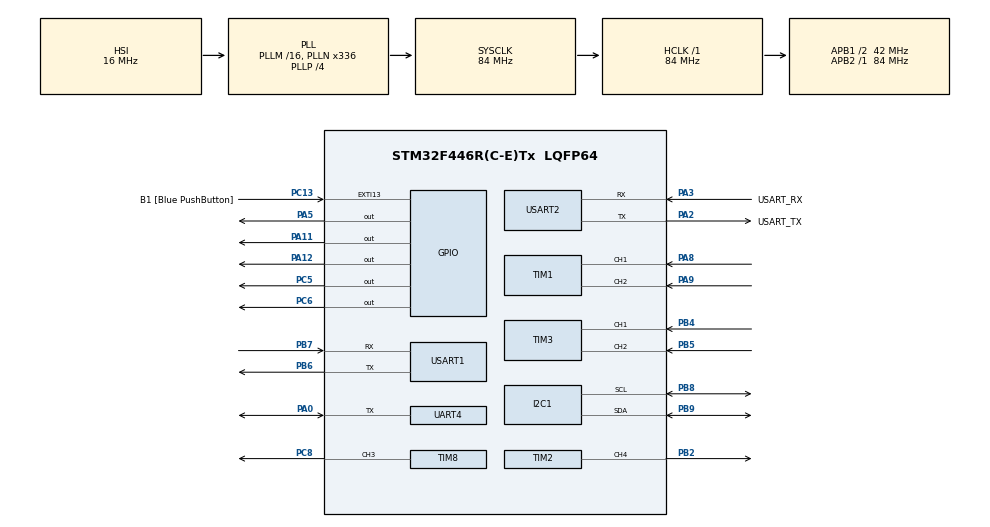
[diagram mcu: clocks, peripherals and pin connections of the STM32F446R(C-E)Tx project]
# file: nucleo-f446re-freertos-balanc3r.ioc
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FREERTOS.Events01=motorDebugFlag,Dynamic,NULL;IMUDebugFlag,Dynamic,NULL;controlDebugFlag,Dynamic,NULL
FREERTOS.Mutexes01=i2cMutex,Dynamic,NULL,Available
FREERTOS.Queues01=gyroQueue,8,vec3,0,Dynamic,NULL,NULL;accelQueue,8,vec3,0,Dynamic,NULL,NULL;encoderQueue,8,vec2,0,Dynamic,NULL,NULL;motorSpeedQueue,8,int,0,Dynamic,NULL,NULL
FREERTOS.Tasks01=IMUDebugTask,8,190,StartIMUDebugTask,As weak,NULL,Dynamic,NULL,NULL;MotorDebugTask,8,150,StartMotorDebugTask,As weak,NULL,Dynamic,NULL,NULL;IMUTask,24,200,StartIMUTask,As weak,NULL,Dynamic,NULL,NULL;ControlTask,32,250,StartControlTask,As weak,NULL,Dynamic,NULL,NULL;EncoderTask,24,200,StartEncoderTask,As weak,NULL,Dynamic,NULL,NULL;MotorTask,24,200,StartMotorTask,As weak,NULL,Dynamic,NULL,NULL;ControlDebugTas,8,200,ControlDebugTaskStart,As weak,NULL,Dynamic,NULL,NULL
FREERTOS.configRECORD_STACK_HIGH_ADDRESS=1
FREERTOS.configUSE_NEWLIB_REENTRANT=1
I2C1.I2C_Mode=I2C_Standard
Mcu.Family=STM32F4
Mcu.Name=STM32F446R(C-E)Tx
Mcu.Package=LQFP64
NVIC.PriorityGroup=NVIC_PRIORITYGROUP_4
NVIC.TIM6_DAC_IRQn=true\:15\:0\:false\:false\:true\:false\:false\:true\:true
NVIC.TimeBase=TIM6_DAC_IRQn
NVIC.TimeBaseIP=TIM6
PA0-WKUP.Mode=Half_duplex(single_wire_mode)
PA0-WKUP.Signal=UART4_TX
PA11.Signal=GPIO_Output
PA12.Signal=GPIO_Output
PA13.GPIO_Label=TMS
PA13.Mode=Serial_Wire
PA13.Signal=SYS_JTMS-SWDIO
PA14.GPIO_Label=TCK
PA14.Mode=Serial_Wire
PA14.Signal=SYS_JTCK-SWCLK
PA2.GPIO_Label=USART_TX
PA2.Mode=Asynchronous
PA2.Signal=USART2_TX
PA3.GPIO_Label=USART_RX
PA3.Mode=Asynchronous
PA3.Signal=USART2_RX
PA5.Signal=GPIO_Output
PA8.Signal=S_TIM1_CH1
PA9.Signal=S_TIM1_CH2
PB2.Signal=S_TIM2_CH4
PB3.GPIO_Label=SWO
PB3.Signal=SYS_JTDO-SWO
PB4.Signal=S_TIM3_CH1
PB5.Signal=S_TIM3_CH2
PB6.Mode=Asynchronous
PB6.Signal=USART1_TX
PB7.Mode=Asynchronous
PB7.Signal=USART1_RX
PB8.Mode=I2C
PB8.Signal=I2C1_SCL
PB9.Mode=I2C
PB9.Signal=I2C1_SDA
PC13.GPIO_Label=B1 [Blue PushButton]
PC13.GPIO_ModeDefaultEXTI=GPIO_MODE_IT_FALLING
PC13.Signal=GPXTI13
PC14-OSC32_IN.Mode=LSE-External-Oscillator
PC14-OSC32_IN.Signal=RCC_OSC32_IN
PC15-OSC32_OUT.Mode=LSE-External-Oscillator
PC15-OSC32_OUT.Signal=RCC_OSC32_OUT
PC5.Signal=GPIO_Output
PC6.Signal=GPIO_Output
PC8.Signal=S_TIM8_CH3
PH0-OSC_IN.Mode=HSE-External-Oscillator
PH0-OSC_IN.Signal=RCC_OSC_IN
PH1-OSC_OUT.Mode=HSE-External-Oscillator
PH1-OSC_OUT.Signal=RCC_OSC_OUT
ProjectManager.HeapSize=0x200
ProjectManager.StackSize=0x400
ProjectManager.TargetToolchain=STM32CubeIDE
RCC.48MHZClocksFreq_Value=84000000
RCC.AHBFreq_Value=84000000
RCC.APB1CLKDivider=RCC_HCLK_DIV2
RCC.APB1Freq_Value=42000000
RCC.APB1TimFreq_Value=84000000
RCC.APB2Freq_Value=84000000
RCC.APB2TimFreq_Value=84000000
RCC.CortexFreq_Value=84000000
RCC.FLatency-AdvancedSettings=FLASH_LATENCY_2
RCC.HCLKFreq_Value=84000000
RCC.HSE_VALUE=8000000
RCC.HSI_VALUE=16000000
RCC.PLLN=336
RCC.PLLP=RCC_PLLP_DIV4
RCC.SYSCLKFreq_VALUE=84000000
RCC.SYSCLKSource=RCC_SYSCLKSOURCE_PLLCLK
RCC.USBFreq_Value=168000000
RCC.VCOOutputFreq_Value=336000000
SH.S_TIM1_CH1.0=TIM1_CH1,Encoder_Interface
SH.S_TIM1_CH2.0=TIM1_CH2,Encoder_Interface
SH.S_TIM2_CH4.0=TIM2_CH4,PWM Generation4 CH4
SH.S_TIM3_CH1.0=TIM3_CH1,Encoder_Interface
SH.S_TIM3_CH2.0=TIM3_CH2,Encoder_Interface
SH.S_TIM8_CH3.0=TIM8_CH3,PWM Generation3 CH3
TIM1.AutoReloadPreload=TIM_AUTORELOAD_PRELOAD_ENABLE
TIM1.EncoderMode=TIM_ENCODERMODE_TI12
TIM1.IC1Polarity=TIM_ICPOLARITY_FALLING
TIM2.AutoReloadPreload=TIM_AUTORELOAD_PRELOAD_ENABLE
TIM2.Channel-PWM\ Generation4\ CH4=TIM_CHANNEL_4
TIM2.Period=65535
TIM3.EncoderMode=TIM_ENCODERMODE_TI12
TIM3.IC1Polarity=TIM_ICPOLARITY_FALLING
TIM8.Channel-PWM\ Generation3\ CH3=TIM_CHANNEL_3
UART4.VirtualMode=Asynchronous
USART1.VirtualMode=VM_ASYNC
USART2.VirtualMode=VM_ASYNC
VP_FREERTOS_VS_CMSIS_V2.Mode=CMSIS_V2
VP_SYS_VS_tim6.Mode=TIM6
VP_TIM2_VS_ClockSourceINT.Mode=Internal
board=NUCLEO-F446RE

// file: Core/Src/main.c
/* USER CODE BEGIN Header */
/**
  ******************************************************************************
  * @file           : main.c
  * @brief          : Main program body
  ******************************************************************************
  * @attention
  *
  * Copyright (c) 2025 STMicroelectronics.
  * All rights reserved.
  *
  * This software is licensed under terms that can be found in the LICENSE file
  * in the root directory of this software component.
  * If no LICENSE file comes with this software, it is provided AS-IS.
  *
  ******************************************************************************
  */
/* USER CODE END Header */
#include "main.h"
#include "cmsis_os.h"

/* USER CODE BEGIN Includes */
#include <string.h>
#include <stdio.h>
#include "IMU/IMU.h"
#include "Motor/Motor.h"
#include "Control/Control.h"
/* USER CODE END Includes */

I2C_HandleTypeDef hi2c1;

TIM_HandleTypeDef htim1;
TIM_HandleTypeDef htim2;
TIM_HandleTypeDef htim3;
TIM_HandleTypeDef htim8;

UART_HandleTypeDef huart4;
UART_HandleTypeDef huart1;
UART_HandleTypeDef huart2;

/* Definitions for IMUDebugTask */
osThreadId_t IMUDebugTaskHandle;
const osThreadAttr_t IMUDebugTask_attributes = {
  .name = "IMUDebugTask",
  .stack_size = 190 * 4,
  .priority = (osPriority_t) osPriorityLow,
};
/* Definitions for MotorDebugTask */
osThreadId_t MotorDebugTaskHandle;
const osThreadAttr_t MotorDebugTask_attributes = {
  .name = "MotorDebugTask",
  .stack_size = 150 * 4,
  .priority = (osPriority_t) osPriorityLow,
};
/* Definitions for IMUTask */
osThreadId_t IMUTaskHandle;
const osThreadAttr_t IMUTask_attributes = {
  .name = "IMUTask",
  .stack_size = 200 * 4,
  .priority = (osPriority_t) osPriorityNormal,
};
/* Definitions for ControlTask */
osThreadId_t ControlTaskHandle;
const osThreadAttr_t ControlTask_attributes = {
  .name = "ControlTask",
  .stack_size = 250 * 4,
  .priority = (osPriority_t) osPriorityAboveNormal,
};
/* Definitions for EncoderTask */
osThreadId_t EncoderTaskHandle;
const osThreadAttr_t EncoderTask_attributes = {
  .name = "EncoderTask",
  .stack_size = 200 * 4,
  .priority = (osPriority_t) osPriorityNormal,
};
/* Definitions for MotorTask */
osThreadId_t MotorTaskHandle;
const osThreadAttr_t MotorTask_attributes = {
  .name = "MotorTask",
  .stack_size = 200 * 4,
  .priority = (osPriority_t) osPriorityNormal,
};
/* Definitions for ControlDebugTas */
osThreadId_t ControlDebugTasHandle;
const osThreadAttr_t ControlDebugTas_attributes = {
  .name = "ControlDebugTas",
  .stack_size = 200 * 4,
  .priority = (osPriority_t) osPriorityLow,
};
/* Definitions for gyroQueue */
osMessageQueueId_t gyroQueueHandle;
const osMessageQueueAttr_t gyroQueue_attributes = {
  .name = "gyroQueue"
};
/* Definitions for accelQueue */
osMessageQueueId_t accelQueueHandle;
const osMessageQueueAttr_t accelQueue_attributes = {
  .name = "accelQueue"
};
/* Definitions for encoderQueue */
osMessageQueueId_t encoderQueueHandle;
const osMessageQueueAttr_t encoderQueue_attributes = {
  .name = "encoderQueue"
};
/* Definitions for motorSpeedQueue */
osMessageQueueId_t motorSpeedQueueHandle;
const osMessageQueueAttr_t motorSpeedQueue_attributes = {
  .name = "motorSpeedQueue"
};
/* Definitions for i2cMutex */
osMutexId_t i2cMutexHandle;
const osMutexAttr_t i2cMutex_attributes = {
  .name = "i2cMutex"
};
/* Definitions for motorDebugFlag */
osEventFlagsId_t motorDebugFlagHandle;
const osEventFlagsAttr_t motorDebugFlag_attributes = {
  .name = "motorDebugFlag"
};
/* Definitions for IMUDebugFlag */
osEventFlagsId_t IMUDebugFlagHandle;
const osEventFlagsAttr_t IMUDebugFlag_attributes = {
  .name = "IMUDebugFlag"
};
/* Definitions for controlDebugFlag */
osEventFlagsId_t controlDebugFlagHandle;
const osEventFlagsAttr_t controlDebugFlag_attributes = {
  .name = "controlDebugFlag"
};
/* USER CODE BEGIN PV */
//static const uint8_t MPU6050_ADDR = 0b1101000 << 1;
//static const uint8_t REG_CONFIG = 0x1A;
//static const uint8_t REG_VALS_START = 0x3B;
/* USER CODE END PV */

void SystemClock_Config(void);
static void MX_GPIO_Init(void);
static void MX_USART2_UART_Init(void);
static void MX_I2C1_Init(void);
static void MX_UART4_Init(void);
static void MX_TIM1_Init(void);
static void MX_TIM3_Init(void);
static void MX_TIM2_Init(void);
static void MX_TIM8_Init(void);
static void MX_USART1_UART_Init(void);
void StartIMUDebugTask(void *argument);
void StartMotorDebugTask(void *argument);
void StartIMUTask(void *argument);
void StartControlTask(void *argument);
void StartEncoderTask(void *argument);
void StartMotorTask(void *argument);
void ControlDebugTaskStart(void *argument);

int main(void)
{

  /* MCU Configuration--------------------------------------------------------*/

  /* Reset of all peripherals, Initializes the Flash interface and the Systick. */
  HAL_Init();

  /* Configure the system clock */
  SystemClock_Config();

  /* Initialize all configured peripherals */
  MX_GPIO_Init();
  MX_USART2_UART_Init();
  MX_I2C1_Init();
  MX_UART4_Init();
  MX_TIM1_Init();
  MX_TIM3_Init();
  MX_TIM2_Init();
  MX_TIM8_Init();
  MX_USART1_UART_Init();

  /* Init scheduler */
  osKernelInitialize();
  /* Create the mutex(es) */
  /* creation of i2cMutex */
  i2cMutexHandle = osMutexNew(&i2cMutex_attributes);

  /* Create the queue(s) */
  /* creation of gyroQueue */
  gyroQueueHandle = osMessageQueueNew (8, sizeof(vec3), &gyroQueue_attributes);

  /* creation of accelQueue */
  accelQueueHandle = osMessageQueueNew (8, sizeof(vec3), &accelQueue_attributes);

  /* creation of encoderQueue */
  encoderQueueHandle = osMessageQueueNew (8, sizeof(vec2), &encoderQueue_attributes);

  /* creation of motorSpeedQueue */
  motorSpeedQueueHandle = osMessageQueueNew (8, sizeof(int), &motorSpeedQueue_attributes);

  /* Create the thread(s) */
  /* creation of IMUDebugTask */
  IMUDebugTaskHandle = osThreadNew(StartIMUDebugTask, NULL, &IMUDebugTask_attributes);

  /* creation of MotorDebugTask */
  MotorDebugTaskHandle = osThreadNew(StartMotorDebugTask, NULL, &MotorDebugTask_attributes);

  /* creation of IMUTask */
  IMUTaskHandle = osThreadNew(StartIMUTask, NULL, &IMUTask_attributes);

  /* creation of ControlTask */
  ControlTaskHandle = osThreadNew(StartControlTask, NULL, &ControlTask_attributes);

  /* creation of EncoderTask */
  EncoderTaskHandle = osThreadNew(StartEncoderTask, NULL, &EncoderTask_attributes);

  /* creation of MotorTask */
  MotorTaskHandle = osThreadNew(StartMotorTask, NULL, &MotorTask_attributes);

  /* creation of ControlDebugTas */
  ControlDebugTasHandle = osThreadNew(ControlDebugTaskStart, NULL, &ControlDebugTas_attributes);

  /* creation of motorDebugFlag */
  motorDebugFlagHandle = osEventFlagsNew(&motorDebugFlag_attributes);

  /* creation of IMUDebugFlag */
  IMUDebugFlagHandle = osEventFlagsNew(&IMUDebugFlag_attributes);

  /* creation of controlDebugFlag */
  controlDebugFlagHandle = osEventFlagsNew(&controlDebugFlag_attributes);

  /* Start scheduler */
  osKernelStart();

  /* We should never get here as control is now taken by the scheduler */

  /* Infinite loop */
  while (1)
  {

  }
}

void SystemClock_Config(void)
{
  RCC_OscInitTypeDef RCC_OscInitStruct = {0};
  RCC_ClkInitTypeDef RCC_ClkInitStruct = {0};

  /** Configure the main internal regulator output voltage
  */
  __HAL_RCC_PWR_CLK_ENABLE();
  __HAL_PWR_VOLTAGESCALING_CONFIG(PWR_REGULATOR_VOLTAGE_SCALE3);

  /** Initializes the RCC Oscillators according to the specified parameters
  * in the RCC_OscInitTypeDef structure.
  */
  RCC_OscInitStruct.OscillatorType = RCC_OSCILLATORTYPE_HSI;
  RCC_OscInitStruct.HSIState = RCC_HSI_ON;
  RCC_OscInitStruct.HSICalibrationValue = RCC_HSICALIBRATION_DEFAULT;
  RCC_OscInitStruct.PLL.PLLState = RCC_PLL_ON;
  RCC_OscInitStruct.PLL.PLLSource = RCC_PLLSOURCE_HSI;
  RCC_OscInitStruct.PLL.PLLM = 16;
  RCC_OscInitStruct.PLL.PLLN = 336;
  RCC_OscInitStruct.PLL.PLLP = RCC_PLLP_DIV4;
  RCC_OscInitStruct.PLL.PLLQ = 2;
  RCC_OscInitStruct.PLL.PLLR = 2;
  if (HAL_RCC_OscConfig(&RCC_OscInitStruct) != HAL_OK)
  {
    Error_Handler();
  }

  /** Initializes the CPU, AHB and APB buses clocks
  */
  RCC_ClkInitStruct.ClockType = RCC_CLOCKTYPE_HCLK|RCC_CLOCKTYPE_SYSCLK
                              |RCC_CLOCKTYPE_PCLK1|RCC_CLOCKTYPE_PCLK2;
  RCC_ClkInitStruct.SYSCLKSource = RCC_SYSCLKSOURCE_PLLCLK;
  RCC_ClkInitStruct.AHBCLKDivider = RCC_SYSCLK_DIV1;
  RCC_ClkInitStruct.APB1CLKDivider = RCC_HCLK_DIV2;
  RCC_ClkInitStruct.APB2CLKDivider = RCC_HCLK_DIV1;

  if (HAL_RCC_ClockConfig(&RCC_ClkInitStruct, FLASH_LATENCY_2) != HAL_OK)
  {
    Error_Handler();
  }
}

static void MX_I2C1_Init(void)
{

  /* USER CODE BEGIN I2C1_Init 0 */
	GPIO_InitTypeDef GPIO_InitStruct = {0};
	__HAL_RCC_GPIOB_CLK_ENABLE();
	GPIO_InitStruct.Pin = GPIO_PIN_8 | GPIO_PIN_9;
	GPIO_InitStruct.Mode = GPIO_MODE_OUTPUT_OD;
	GPIO_InitStruct.Pull = GPIO_NOPULL;
	GPIO_InitStruct.Speed = GPIO_SPEED_FREQ_LOW;
	HAL_GPIO_Init(GPIOB, &GPIO_InitStruct);
	HAL_GPIO_WritePin(GPIOB, GPIO_PIN_8 | GPIO_PIN_9, GPIO_PIN_SET);
	HAL_Delay(1);
	if (HAL_GPIO_ReadPin(GPIOB, GPIO_PIN_9) == GPIO_PIN_RESET) {
		for (int i = 0; i < 9; i++) {
			// Clock SCL to release SDA
			HAL_GPIO_WritePin(GPIOB, GPIO_PIN_8, GPIO_PIN_RESET);
			HAL_Delay(1);
			HAL_GPIO_WritePin(GPIOB, GPIO_PIN_8, GPIO_PIN_SET);
			HAL_Delay(1);
		}
	}
	HAL_GPIO_WritePin(GPIOB, GPIO_PIN_8, GPIO_PIN_SET); // SCL high
	HAL_GPIO_WritePin(GPIOB, GPIO_PIN_9, GPIO_PIN_SET); // SDA high
	HAL_Delay(1);
	HAL_GPIO_DeInit(GPIOB, GPIO_PIN_8 | GPIO_PIN_9);
	printf("Bit banged\n");
  /* USER CODE END I2C1_Init 0 */

  hi2c1.Instance = I2C1;
  hi2c1.Init.ClockSpeed = 100000;
  hi2c1.Init.DutyCycle = I2C_DUTYCYCLE_2;
  hi2c1.Init.OwnAddress1 = 0;
  hi2c1.Init.AddressingMode = I2C_ADDRESSINGMODE_7BIT;
  hi2c1.Init.DualAddressMode = I2C_DUALADDRESS_DISABLE;
  hi2c1.Init.OwnAddress2 = 0;
  hi2c1.Init.GeneralCallMode = I2C_GENERALCALL_DISABLE;
  hi2c1.Init.NoStretchMode = I2C_NOSTRETCH_DISABLE;
  if (HAL_I2C_Init(&hi2c1) != HAL_OK)
  {
    Error_Handler();
  }

}

static void MX_TIM1_Init(void)
{

  TIM_Encoder_InitTypeDef sConfig = {0};
  TIM_MasterConfigTypeDef sMasterConfig = {0};

  htim1.Instance = TIM1;
  htim1.Init.Prescaler = 0;
  htim1.Init.CounterMode = TIM_COUNTERMODE_UP;
  htim1.Init.Period = 65535;
  htim1.Init.ClockDivision = TIM_CLOCKDIVISION_DIV1;
  htim1.Init.RepetitionCounter = 0;
  htim1.Init.AutoReloadPreload = TIM_AUTORELOAD_PRELOAD_ENABLE;
  sConfig.EncoderMode = TIM_ENCODERMODE_TI12;
  sConfig.IC1Polarity = TIM_ICPOLARITY_FALLING;
  sConfig.IC1Selection = TIM_ICSELECTION_DIRECTTI;
  sConfig.IC1Prescaler = TIM_ICPSC_DIV1;
  sConfig.IC1Filter = 0;
  sConfig.IC2Polarity = TIM_ICPOLARITY_RISING;
  sConfig.IC2Selection = TIM_ICSELECTION_DIRECTTI;
  sConfig.IC2Prescaler = TIM_ICPSC_DIV1;
  sConfig.IC2Filter = 0;
  if (HAL_TIM_Encoder_Init(&htim1, &sConfig) != HAL_OK)
  {
    Error_Handler();
  }
  sMasterConfig.MasterOutputTrigger = TIM_TRGO_RESET;
  sMasterConfig.MasterSlaveMode = TIM_MASTERSLAVEMODE_DISABLE;
  if (HAL_TIMEx_MasterConfigSynchronization(&htim1, &sMasterConfig) != HAL_OK)
  {
    Error_Handler();
  }

}

static void MX_TIM2_Init(void)
{

  TIM_ClockConfigTypeDef sClockSourceConfig = {0};
  TIM_MasterConfigTypeDef sMasterConfig = {0};
  TIM_OC_InitTypeDef sConfigOC = {0};

  htim2.Instance = TIM2;
  htim2.Init.Prescaler = 0;
  htim2.Init.CounterMode = TIM_COUNTERMODE_UP;
  htim2.Init.Period = 65535;
  htim2.Init.ClockDivision = TIM_CLOCKDIVISION_DIV1;
  htim2.Init.AutoReloadPreload = TIM_AUTORELOAD_PRELOAD_ENABLE;
  if (HAL_TIM_Base_Init(&htim2) != HAL_OK)
  {
    Error_Handler();
  }
  sClockSourceConfig.ClockSource = TIM_CLOCKSOURCE_INTERNAL;
  if (HAL_TIM_ConfigClockSource(&htim2, &sClockSourceConfig) != HAL_OK)
  {
    Error_Handler();
  }
  if (HAL_TIM_PWM_Init(&htim2) != HAL_OK)
  {
    Error_Handler();
  }
  sMasterConfig.MasterOutputTrigger = TIM_TRGO_RESET;
  sMasterConfig.MasterSlaveMode = TIM_MASTERSLAVEMODE_DISABLE;
  if (HAL_TIMEx_MasterConfigSynchronization(&htim2, &sMasterConfig) != HAL_OK)
  {
    Error_Handler();
  }
  sConfigOC.OCMode = TIM_OCMODE_PWM1;
  sConfigOC.Pulse = 0;
  sConfigOC.OCPolarity = TIM_OCPOLARITY_HIGH;
  sConfigOC.OCFastMode = TIM_OCFAST_DISABLE;
  if (HAL_TIM_PWM_ConfigChannel(&htim2, &sConfigOC, TIM_CHANNEL_4) != HAL_OK)
  {
    Error_Handler();
  }
  HAL_TIM_MspPostInit(&htim2);

}

static void MX_TIM3_Init(void)
{

  TIM_Encoder_InitTypeDef sConfig = {0};
  TIM_MasterConfigTypeDef sMasterConfig = {0};

  htim3.Instance = TIM3;
  htim3.Init.Prescaler = 0;
  htim3.Init.CounterMode = TIM_COUNTERMODE_UP;
  htim3.Init.Period = 65535;
  htim3.Init.ClockDivision = TIM_CLOCKDIVISION_DIV1;
  htim3.Init.AutoReloadPreload = TIM_AUTORELOAD_PRELOAD_DISABLE;
  sConfig.EncoderMode = TIM_ENCODERMODE_TI12;
  sConfig.IC1Polarity = TIM_ICPOLARITY_FALLING;
  sConfig.IC1Selection = TIM_ICSELECTION_DIRECTTI;
  sConfig.IC1Prescaler = TIM_ICPSC_DIV1;
  sConfig.IC1Filter = 0;
  sConfig.IC2Polarity = TIM_ICPOLARITY_RISING;
  sConfig.IC2Selection = TIM_ICSELECTION_DIRECTTI;
  sConfig.IC2Prescaler = TIM_ICPSC_DIV1;
  sConfig.IC2Filter = 0;
  if (HAL_TIM_Encoder_Init(&htim3, &sConfig) != HAL_OK)
  {
    Error_Handler();
  }
  sMasterConfig.MasterOutputTrigger = TIM_TRGO_RESET;
  sMasterConfig.MasterSlaveMode = TIM_MASTERSLAVEMODE_DISABLE;
  if (HAL_TIMEx_MasterConfigSynchronization(&htim3, &sMasterConfig) != HAL_OK)
  {
    Error_Handler();
  }

}

static void MX_TIM8_Init(void)
{

  TIM_MasterConfigTypeDef sMasterConfig = {0};
  TIM_OC_InitTypeDef sConfigOC = {0};
  TIM_BreakDeadTimeConfigTypeDef sBreakDeadTimeConfig = {0};

  htim8.Instance = TIM8;
  htim8.Init.Prescaler = 0;
  htim8.Init.CounterMode = TIM_COUNTERMODE_UP;
  htim8.Init.Period = 65535;
  htim8.Init.ClockDivision = TIM_CLOCKDIVISION_DIV1;
  htim8.Init.RepetitionCounter = 0;
  htim8.Init.AutoReloadPreload = TIM_AUTORELOAD_PRELOAD_DISABLE;
  if (HAL_TIM_PWM_Init(&htim8) != HAL_OK)
  {
    Error_Handler();
  }
  sMasterConfig.MasterOutputTrigger = TIM_TRGO_RESET;
  sMasterConfig.MasterSlaveMode = TIM_MASTERSLAVEMODE_DISABLE;
  if (HAL_TIMEx_MasterConfigSynchronization(&htim8, &sMasterConfig) != HAL_OK)
  {
    Error_Handler();
  }
  sConfigOC.OCMode = TIM_OCMODE_PWM1;
  sConfigOC.Pulse = 0;
  sConfigOC.OCPolarity = TIM_OCPOLARITY_HIGH;
  sConfigOC.OCNPolarity = TIM_OCNPOLARITY_HIGH;
  sConfigOC.OCFastMode = TIM_OCFAST_DISABLE;
  sConfigOC.OCIdleState = TIM_OCIDLESTATE_RESET;
  sConfigOC.OCNIdleState = TIM_OCNIDLESTATE_RESET;
  if (HAL_TIM_PWM_ConfigChannel(&htim8, &sConfigOC, TIM_CHANNEL_3) != HAL_OK)
  {
    Error_Handler();
  }
  sBreakDeadTimeConfig.OffStateRunMode = TIM_OSSR_DISABLE;
  sBreakDeadTimeConfig.OffStateIDLEMode = TIM_OSSI_DISABLE;
  sBreakDeadTimeConfig.LockLevel = TIM_LOCKLEVEL_OFF;
  sBreakDeadTimeConfig.DeadTime = 0;
  sBreakDeadTimeConfig.BreakState = TIM_BREAK_DISABLE;
  sBreakDeadTimeConfig.BreakPolarity = TIM_BREAKPOLARITY_HIGH;
  sBreakDeadTimeConfig.AutomaticOutput = TIM_AUTOMATICOUTPUT_DISABLE;
  if (HAL_TIMEx_ConfigBreakDeadTime(&htim8, &sBreakDeadTimeConfig) != HAL_OK)
  {
    Error_Handler();
  }
  HAL_TIM_MspPostInit(&htim8);

}

static void MX_UART4_Init(void)
{

  huart4.Instance = UART4;
  huart4.Init.BaudRate = 115200;
  huart4.Init.WordLength = UART_WORDLENGTH_8B;
  huart4.Init.StopBits = UART_STOPBITS_1;
  huart4.Init.Parity = UART_PARITY_NONE;
  huart4.Init.Mode = UART_MODE_TX_RX;
  huart4.Init.HwFlowCtl = UART_HWCONTROL_NONE;
  huart4.Init.OverSampling = UART_OVERSAMPLING_16;
  if (HAL_HalfDuplex_Init(&huart4) != HAL_OK)
  {
    Error_Handler();
  }

}

static void MX_USART1_UART_Init(void)
{

  huart1.Instance = USART1;
  huart1.Init.BaudRate = 115200;
  huart1.Init.WordLength = UART_WORDLENGTH_8B;
  huart1.Init.StopBits = UART_STOPBITS_1;
  huart1.Init.Parity = UART_PARITY_NONE;
  huart1.Init.Mode = UART_MODE_TX_RX;
  huart1.Init.HwFlowCtl = UART_HWCONTROL_NONE;
  huart1.Init.OverSampling = UART_OVERSAMPLING_16;
  if (HAL_UART_Init(&huart1) != HAL_OK)
  {
    Error_Handler();
  }

}

static void MX_USART2_UART_Init(void)
{

  huart2.Instance = USART2;
  huart2.Init.BaudRate = 115200;
  huart2.Init.WordLength = UART_WORDLENGTH_8B;
  huart2.Init.StopBits = UART_STOPBITS_1;
  huart2.Init.Parity = UART_PARITY_NONE;
  huart2.Init.Mode = UART_MODE_TX_RX;
  huart2.Init.HwFlowCtl = UART_HWCONTROL_NONE;
  huart2.Init.OverSampling = UART_OVERSAMPLING_16;
  if (HAL_UART_Init(&huart2) != HAL_OK)
  {
    Error_Handler();
  }

}

static void MX_GPIO_Init(void)
{
  GPIO_InitTypeDef GPIO_InitStruct = {0};

  /* GPIO Ports Clock Enable */
  __HAL_RCC_GPIOC_CLK_ENABLE();
  __HAL_RCC_GPIOH_CLK_ENABLE();
  __HAL_RCC_GPIOA_CLK_ENABLE();
  __HAL_RCC_GPIOB_CLK_ENABLE();

  /*Configure GPIO pin Output Level */
  HAL_GPIO_WritePin(GPIOA, GPIO_PIN_5|GPIO_PIN_11|GPIO_PIN_12, GPIO_PIN_RESET);

  /*Configure GPIO pin Output Level */
  HAL_GPIO_WritePin(GPIOC, GPIO_PIN_5|GPIO_PIN_6, GPIO_PIN_RESET);

  /*Configure GPIO pin : B1_Pin */
  GPIO_InitStruct.Pin = B1_Pin;
  GPIO_InitStruct.Mode = GPIO_MODE_IT_FALLING;
  GPIO_InitStruct.Pull = GPIO_NOPULL;
  HAL_GPIO_Init(B1_GPIO_Port, &GPIO_InitStruct);

  /*Configure GPIO pins : PA5 PA11 PA12 */
  GPIO_InitStruct.Pin = GPIO_PIN_5|GPIO_PIN_11|GPIO_PIN_12;
  GPIO_InitStruct.Mode = GPIO_MODE_OUTPUT_PP;
  GPIO_InitStruct.Pull = GPIO_NOPULL;
  GPIO_InitStruct.Speed = GPIO_SPEED_FREQ_LOW;
  HAL_GPIO_Init(GPIOA, &GPIO_InitStruct);

  /*Configure GPIO pins : PC5 PC6 */
  GPIO_InitStruct.Pin = GPIO_PIN_5|GPIO_PIN_6;
  GPIO_InitStruct.Mode = GPIO_MODE_OUTPUT_PP;
  GPIO_InitStruct.Pull = GPIO_NOPULL;
  GPIO_InitStruct.Speed = GPIO_SPEED_FREQ_LOW;
  HAL_GPIO_Init(GPIOC, &GPIO_InitStruct);

}

/* USER CODE BEGIN 4 */
int _write(int file, char *ptr, int len)
{
  (void)file;
  int DataIdx;

  for (DataIdx = 0; DataIdx < len; DataIdx++)
  {
    ITM_SendChar(*ptr++);
  }
  return len;
}
/* USER CODE END 4 */

__weak void StartIMUDebugTask(void *argument)
{
  for(;;)
  {
    osDelay(1);
  }
}

__weak void StartMotorDebugTask(void *argument)
{
  for(;;)
  {
    osDelay(1);
  }
}

__weak void StartIMUTask(void *argument)
{
  for(;;)
  {
    osDelay(1);
  }
}

__weak void StartControlTask(void *argument)
{
  for(;;)
  {
    osDelay(1);
  }
}

__weak void StartEncoderTask(void *argument)
{
  for(;;)
  {
    osDelay(1);
  }
}

__weak void StartMotorTask(void *argument)
{
  for(;;)
  {
    osDelay(1);
  }
}

__weak void ControlDebugTaskStart(void *argument)
{
  for(;;)
  {
    osDelay(1);
  }
}

void HAL_TIM_PeriodElapsedCallback(TIM_HandleTypeDef *htim)
{
  if (htim->Instance == TIM6)
  {
    HAL_IncTick();
  }
}

void Error_Handler(void)
{
  __disable_irq();
  while (1)
  {
  }
}
